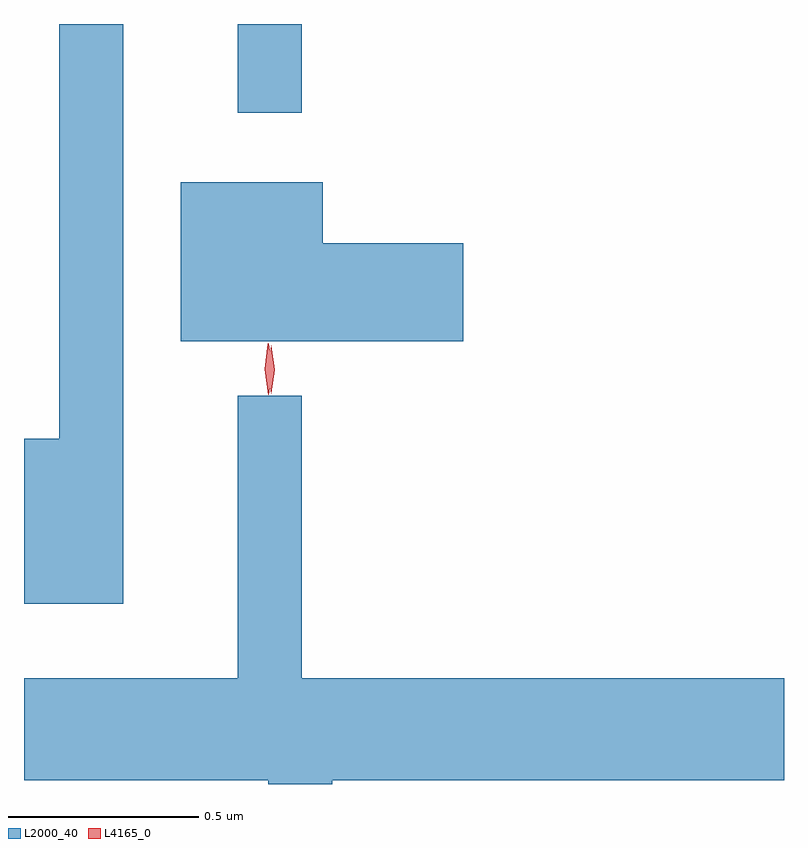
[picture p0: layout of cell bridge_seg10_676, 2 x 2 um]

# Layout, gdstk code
import gdstk
lib = gdstk.Library(unit=1e-6, precision=1e-09)
def R(c, l, rs):  # rectangles x0, y0, x1, y1
    for r in rs: c.add(gdstk.rectangle(r[:2], r[2:], *l))
def P(c, l, *ps):  # polygons
    for p in ps: c.add(gdstk.Polygon(p, *l))
L2000_40 = (2000, 40)
L4165_0 = (4165, 0)

bridge_seg10_676 = lib.new_cell('bridge_seg10_676')
R(bridge_seg10_676, L2000_40, [(758.061,2089.033,758.229,2089.266)])
P(bridge_seg10_676, L2000_40, [(757.759,2089.266),(757.591,2089.266),(757.591,2088.174),(757.498,2088.174),(757.498,2087.741),(757.759,2087.741)],
  [(758.654,2088.689),(758.284,2088.689),(758.284,2088.849),(757.911,2088.849),(757.911,2088.431),(758.654,2088.431)],
  [(758.309,2087.276),(759.498,2087.276),(759.498,2087.544),(758.229,2087.544),(758.229,2088.288),(758.061,2088.288),(758.061,2087.544),(757.498,2087.544),(757.498,2087.276),(758.141,2087.276),(758.141,2087.266),(758.309,2087.266)])
P(bridge_seg10_676, L4165_0, [(758.141,2088.29),(758.131,2088.358),(758.14,2088.425),(758.141,2088.426),(758.142,2088.425),(758.151,2088.358),(758.142,2088.29),(758.142,2088.29)],
  [(758.148,2088.293),(758.148,2088.294),(758.138,2088.356),(758.148,2088.419),(758.148,2088.42),(758.149,2088.419),(758.158,2088.356),(758.149,2088.294)])

lib.write_gds('bridge_seg10_676.gds')
